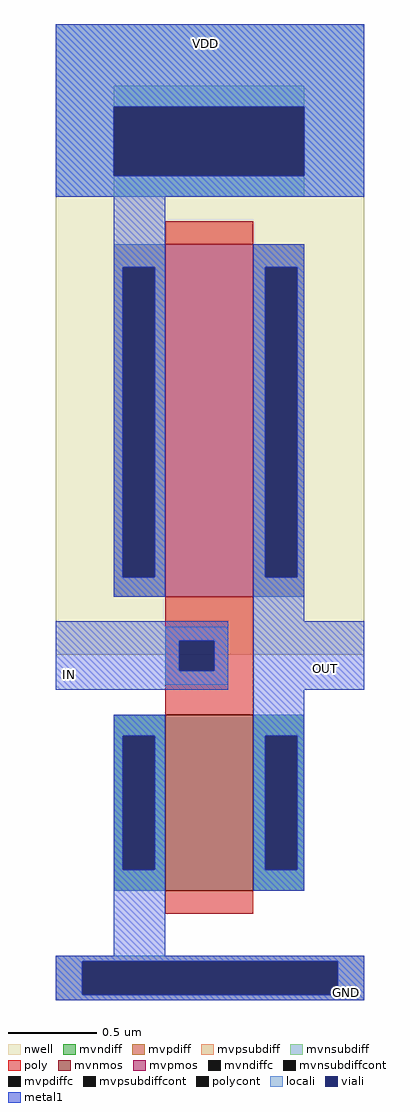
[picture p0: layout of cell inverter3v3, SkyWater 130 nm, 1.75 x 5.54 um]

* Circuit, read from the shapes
.subckt inverter3v3 GND IN OUT VDD
XM1 OUT IN GND GND sky130_fd_pr__nfet_g5v0d10v5 w=1 l=0.5
XM2 OUT IN VDD VDD sky130_fd_pr__pfet_g5v0d10v5 w=2 l=0.5
.ends

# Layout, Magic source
magic
tech sky130A
<< nwell >>
rect 0 196 175 554
<< mvnmos >>
rect 62 62 112 162
<< mvpmos >>
rect 62 229 112 429
<< mvndiff >>
rect 33 150 62 162
rect 33 74 38 150
rect 56 74 62 150
rect 33 62 62 74
rect 112 150 141 162
rect 112 74 119 150
rect 137 74 141 150
rect 112 62 141 74
<< mvpdiff >>
rect 33 416 62 429
rect 33 240 38 416
rect 56 240 62 416
rect 33 229 62 240
rect 112 416 141 429
rect 112 240 119 416
rect 137 240 141 416
rect 112 229 141 240
<< mvndiffc >>
rect 38 74 56 150
rect 119 74 137 150
<< mvpdiffc >>
rect 38 240 56 416
rect 119 240 137 416
<< mvpsubdiff >>
rect 0 22 175 25
rect 0 3 15 22
rect 160 3 175 22
rect 0 0 175 3
<< mvnsubdiff >>
rect 33 507 141 519
rect 33 456 141 468
<< mvpsubdiffcont >>
rect 15 3 160 22
<< mvnsubdiffcont >>
rect 33 468 141 507
<< poly >>
rect 62 429 112 442
rect 62 204 112 229
rect 62 187 70 204
rect 90 187 112 204
rect 62 162 112 187
rect 62 49 112 62
<< polycont >>
rect 70 187 90 204
<< locali >>
rect 0 507 175 554
rect 0 468 33 507
rect 141 468 175 507
rect 0 456 175 468
rect 33 416 62 429
rect 33 240 38 416
rect 56 240 62 416
rect 33 229 62 240
rect 112 416 141 429
rect 112 240 119 416
rect 137 240 141 416
rect 112 229 141 240
rect 62 204 98 212
rect 62 187 70 204
rect 90 187 98 204
rect 62 179 98 187
rect 33 150 62 162
rect 33 74 38 150
rect 56 74 62 150
rect 33 62 62 74
rect 112 150 141 162
rect 112 74 119 150
rect 137 74 141 150
rect 112 62 141 74
rect 0 22 175 25
rect 0 3 15 22
rect 160 3 175 22
rect 0 0 175 3
<< viali >>
rect 33 468 141 507
rect 38 240 56 416
rect 119 240 137 416
rect 70 187 90 204
rect 38 74 56 150
rect 119 74 137 150
rect 15 3 160 22
<< metal1 >>
rect 0 507 175 554
rect 0 468 33 507
rect 141 468 175 507
rect 0 456 175 468
rect 33 416 62 456
rect 33 240 38 416
rect 56 240 62 416
rect 33 229 62 240
rect 112 416 141 429
rect 112 240 119 416
rect 137 240 141 416
rect 112 215 141 240
rect 0 204 98 215
rect 0 187 70 204
rect 90 187 98 204
rect 0 176 98 187
rect 112 176 175 215
rect 33 150 62 162
rect 33 74 38 150
rect 56 74 62 150
rect 33 25 62 74
rect 112 150 141 176
rect 112 74 119 150
rect 137 74 141 150
rect 112 62 141 74
rect 0 22 175 25
rect 0 3 15 22
rect 160 3 175 22
rect 0 0 175 3
<< labels >>
rlabel metal1 165 4 165 4 1 GND
rlabel metal1 85 543 85 543 1 VDD
rlabel metal1 8 185 8 185 1 IN
rlabel metal1 153 188 153 188 1 OUT
<< end >>
